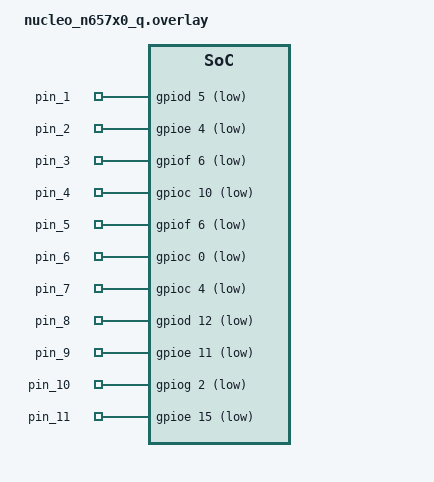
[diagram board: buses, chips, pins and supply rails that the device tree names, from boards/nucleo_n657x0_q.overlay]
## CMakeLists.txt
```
cmake_minimum_required(VERSION 3.20.0)

find_package(Zephyr REQUIRED HINTS ENV{ZEPHYR_BASE})

project(vdas_gpio)

target_sources(app PRIVATE src/main.c)
```

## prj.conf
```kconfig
CONFIG_BOOT_BANNER=n

CONFIG_GPIO=y
CONFIG_UART_CONSOLE=y
CONFIG_PRINTK=y
```

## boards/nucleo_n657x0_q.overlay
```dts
/{
aliases{

    op1  = &pin_1;
    op2  = &pin_2;
    op3  = &pin_3;
    op4  = &pin_4;
    op5  = &pin_5;
    op6  = &pin_6;
    op7  = &pin_7;
    op8  = &pin_8;
    op9  = &pin_9;
    op10 = &pin_10;
    op11 = &pin_11;
   };

   output_pins {
    compatible = "gpio-leds";

    pin_1: op_1 {
        gpios = <&gpiod 5 GPIO_ACTIVE_LOW>;
    };
    pin_2: op_2 {
        gpios = <&gpioe 4 GPIO_ACTIVE_LOW>;
    };
    pin_3: op_3 {
        gpios = <&gpiof 6 GPIO_ACTIVE_LOW>;
    };
    pin_4: op_4 {
        gpios = <&gpioc 10 GPIO_ACTIVE_LOW>;
    };
    pin_5: op_5 {
        gpios = <&gpiof 6 GPIO_ACTIVE_LOW>;
    };
    pin_6: op_6 {
        gpios = <&gpioc 0 GPIO_ACTIVE_LOW>;
    };
    pin_7: op_7 {
        gpios = <&gpioc 4 GPIO_ACTIVE_LOW>;
    };
    pin_8: op_8 {
        gpios = <&gpiod 12 GPIO_ACTIVE_LOW>;
    };
    pin_9: op_9 {
        gpios = <&gpioe 11 GPIO_ACTIVE_LOW>;
    };
    pin_10: op_10 {
        gpios = <&gpiog 2 GPIO_ACTIVE_LOW>;
    };
    pin_11: op_11 {
        gpios = <&gpioe 15 GPIO_ACTIVE_LOW>;
    };
   };
};
   
```

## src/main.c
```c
#include <zephyr/kernel.h>
#include <zephyr/drivers/gpio.h>


#define OUTPUT_NODE1 DT_ALIAS(op1)
#define OUTPUT_NODE2 DT_ALIAS(op2)
#define OUTPUT_NODE3 DT_ALIAS(op3)
#define OUTPUT_NODE4 DT_ALIAS(op4)
#define OUTPUT_NODE5 DT_ALIAS(op5)
#define OUTPUT_NODE6 DT_ALIAS(op6)
#define OUTPUT_NODE7 DT_ALIAS(op7)
#define OUTPUT_NODE8 DT_ALIAS(op8)
#define OUTPUT_NODE9 DT_ALIAS(op9)
#define OUTPUT_NODE10 DT_ALIAS(op10)
#define OUTPUT_NODE11 DT_ALIAS(op11)


const struct gpio_dt_spec op1  = GPIO_DT_SPEC_GET(OUTPUT_NODE1 ,gpios);
const struct gpio_dt_spec op2  = GPIO_DT_SPEC_GET(OUTPUT_NODE2 ,gpios);
const struct gpio_dt_spec op3  = GPIO_DT_SPEC_GET(OUTPUT_NODE3 ,gpios);
const struct gpio_dt_spec op4  = GPIO_DT_SPEC_GET(OUTPUT_NODE4 ,gpios);
const struct gpio_dt_spec op5  = GPIO_DT_SPEC_GET(OUTPUT_NODE5 ,gpios);
const struct gpio_dt_spec op6  = GPIO_DT_SPEC_GET(OUTPUT_NODE6 ,gpios);
const struct gpio_dt_spec op7  = GPIO_DT_SPEC_GET(OUTPUT_NODE7 ,gpios);
const struct gpio_dt_spec op8  = GPIO_DT_SPEC_GET(OUTPUT_NODE8 ,gpios);
const struct gpio_dt_spec op9  = GPIO_DT_SPEC_GET(OUTPUT_NODE9 ,gpios);
const struct gpio_dt_spec op10  = GPIO_DT_SPEC_GET(OUTPUT_NODE10 ,gpios);
const struct gpio_dt_spec op11  = GPIO_DT_SPEC_GET(OUTPUT_NODE11 ,gpios);

int main(void)
{
	gpio_pin_configure_dt(&op1 ,GPIO_OUTPUT_HIGH);
	gpio_pin_configure_dt(&op2 ,GPIO_OUTPUT_HIGH);
	gpio_pin_configure_dt(&op3 ,GPIO_OUTPUT_HIGH);
	gpio_pin_configure_dt(&op4 ,GPIO_OUTPUT_HIGH);
	gpio_pin_configure_dt(&op5 ,GPIO_OUTPUT_HIGH);
	gpio_pin_configure_dt(&op6 ,GPIO_OUTPUT_HIGH);
	gpio_pin_configure_dt(&op7 ,GPIO_OUTPUT_HIGH);
	gpio_pin_configure_dt(&op8 ,GPIO_OUTPUT_HIGH);
	gpio_pin_configure_dt(&op9 ,GPIO_OUTPUT_HIGH);
	gpio_pin_configure_dt(&op10 ,GPIO_OUTPUT_HIGH);
	gpio_pin_configure_dt(&op11 ,GPIO_OUTPUT_HIGH);

	while (1) {
		gpio_pin_toggle_dt(&op1);
		gpio_pin_toggle_dt(&op2);
		gpio_pin_toggle_dt(&op3);
		gpio_pin_toggle_dt(&op4);
		gpio_pin_toggle_dt(&op5);
		gpio_pin_toggle_dt(&op6);
		gpio_pin_toggle_dt(&op7);
		gpio_pin_toggle_dt(&op8);
		gpio_pin_toggle_dt(&op9);
		gpio_pin_toggle_dt(&op10);
		gpio_pin_toggle_dt(&op11);

		k_msleep(1000);
	}

	return 0;
}
```
